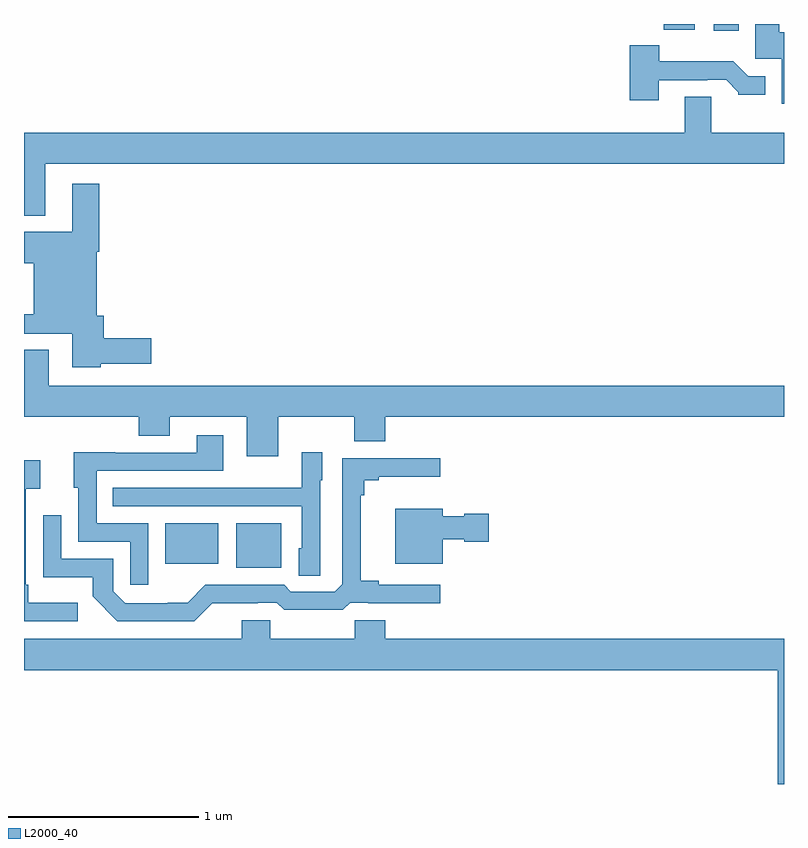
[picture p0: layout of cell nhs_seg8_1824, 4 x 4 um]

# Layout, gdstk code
import gdstk
lib = gdstk.Library(unit=1e-6, precision=1e-09)
def R(c, l, rs):  # rectangles x0, y0, x1, y1
    for r in rs: c.add(gdstk.rectangle(r[:2], r[2:], *l))
def P(c, l, *ps):  # polygons
    for p in ps: c.add(gdstk.Polygon(p, *l))
L2000_40 = (2000, 40)

nhs_seg8_1824 = lib.new_cell('nhs_seg8_1824')
R(nhs_seg8_1824, L2000_40, [(228.116,1117.037,228.355,1117.273), (227.744,1117.058,228.022,1117.273), (230.63,1119.864,230.761,1119.9), (230.368,1119.869,230.53,1119.9)])
P(nhs_seg8_1824, L2000_40, [(231,1119.856),(230.974,1119.856),(230.974,1119.9),(230.849,1119.9),(230.849,1119.717),(230.987,1119.717),(230.987,1119.48),(231,1119.48)],
  [(230.341,1119.603),(230.597,1119.603),(230.597,1119.606),(230.696,1119.606),(230.76,1119.542),(230.76,1119.527),(230.902,1119.527),(230.902,1119.624),(230.811,1119.624),(230.733,1119.703),(230.344,1119.703),(230.344,1119.787),(230.189,1119.787),(230.189,1119.498),(230.341,1119.498)],
  [(227.113,1119.164),(231,1119.164),(231,1119.328),(230.617,1119.328),(230.617,1119.518),(230.477,1119.518),(230.477,1119.328),(227,1119.328),(227,1118.891),(227.113,1118.891)],
  [(227.403,1118.111),(227.671,1118.111),(227.671,1118.246),(227.42,1118.246),(227.42,1118.364),(227.383,1118.364),(227.383,1118.702),(227.396,1118.702),(227.396,1119.058),(227.255,1119.058),(227.255,1118.806),(227,1118.806),(227,1118.642),(227.051,1118.642),(227.051,1118.372),(227,1118.372),(227,1118.271),(227.255,1118.271),(227.255,1118.093),(227.403,1118.093)],
  [(228.337,1117.832),(228.737,1117.832),(228.737,1117.704),(228.901,1117.704),(228.901,1117.832),(231,1117.832),(231,1117.996),(227.131,1117.996),(227.131,1118.186),(227,1118.186),(227,1117.832),(227.603,1117.832),(227.603,1117.733),(227.767,1117.733),(227.767,1117.832),(228.173,1117.832),(228.173,1117.626),(228.337,1117.626)],
  [(227.655,1117.272),(227.382,1117.272),(227.382,1117.548),(228.049,1117.548),(228.049,1117.735),(227.909,1117.735),(227.909,1117.644),(227.479,1117.644),(227.479,1117.646),(227.261,1117.646),(227.261,1117.458),(227.286,1117.458),(227.286,1117.176),(227.559,1117.176),(227.559,1116.948),(227.655,1116.948)],
  [(228.558,1117.5),(228.571,1117.5),(228.571,1117.645),(228.462,1117.645),(228.462,1117.459),(228.145,1117.459),(228.145,1117.458),(227.467,1117.458),(227.467,1117.362),(228.462,1117.362),(228.462,1117.14),(228.446,1117.14),(228.446,1116.997),(228.558,1116.997)],
  [(227.99,1116.851),(228.23,1116.851),(228.23,1116.855),(228.33,1116.855),(228.37,1116.816),(228.677,1116.816),(228.717,1116.855),(228.811,1116.855),(228.811,1116.851),(229.192,1116.851),(229.192,1116.948),(228.868,1116.948),(228.868,1116.971),(228.773,1116.971),(228.773,1117.421),(228.791,1117.421),(228.791,1117.498),(228.868,1117.498),(228.868,1117.517),(229.192,1117.517),(229.192,1117.614),(228.675,1117.614),(228.675,1116.951),(228.636,1116.912),(228.405,1116.912),(228.369,1116.948),(227.955,1116.948),(227.861,1116.854),(227.756,1116.854),(227.756,1116.852),(227.532,1116.852),(227.469,1116.915),(227.469,1117.086),(227.196,1117.086),(227.196,1117.315),(227.1,1117.315),(227.1,1116.989),(227.362,1116.989),(227.362,1116.887),(227.492,1116.756),(227.895,1116.756)],
  [(227.284,1116.853),(227.023,1116.853),(227.023,1116.949),(227.01,1116.949),(227.01,1117.454),(227.086,1117.454),(227.086,1117.603),(227,1117.603),(227,1116.756),(227.284,1116.756)],
  [(229.204,1117.187),(229.317,1117.187),(229.317,1117.175),(229.447,1117.175),(229.447,1117.322),(229.317,1117.322),(229.317,1117.309),(229.204,1117.309),(229.204,1117.348),(228.953,1117.348),(228.953,1117.058),(229.204,1117.058)],
  [(231,1116.664),(228.902,1116.664),(228.902,1116.762),(228.742,1116.762),(228.742,1116.664),(228.297,1116.664),(228.297,1116.762),(228.146,1116.762),(228.146,1116.664),(227,1116.664),(227,1116.5),(230.966,1116.5),(230.966,1115.9),(231,1115.9)])

lib.write_gds('nhs_seg8_1824.gds')
